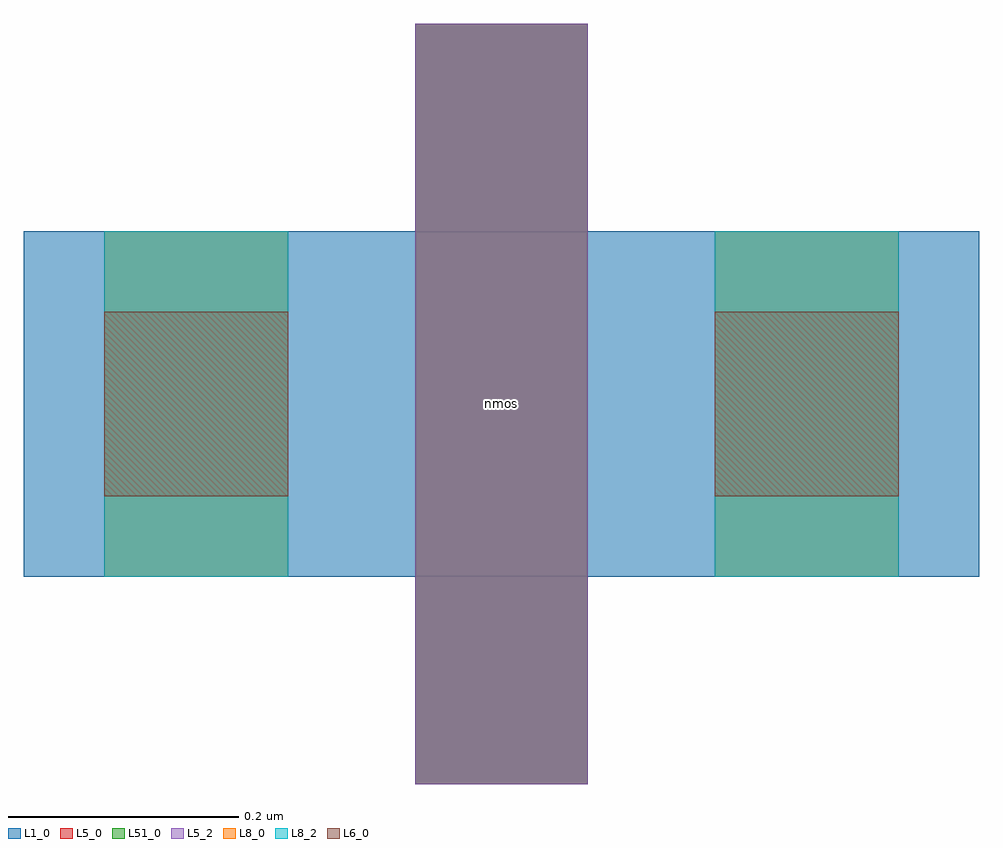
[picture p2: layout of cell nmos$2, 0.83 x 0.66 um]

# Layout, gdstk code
import gdstk
lib = gdstk.Library(unit=1e-6, precision=1e-09)
def R(c, l, rs):  # rectangles x0, y0, x1, y1
    for r in rs: c.add(gdstk.rectangle(r[:2], r[2:], *l))
L1_0 = (1, 0)
L5_0 = (5, 0)
L5_2 = (5, 2)
L6_0 = (6, 0)
L8_0 = (8, 0)
L8_2 = (8, 2)
L51_0 = (51, 0)

nmos_2 = lib.new_cell('nmos$2')
R(nmos_2, L1_0, [(0,0,0.3,0.3), (0,0,0.83,0.3), (0.53,0,0.83,0.3)])
R(nmos_2, L5_0, [(0.34,-0.18,0.49,0.48)])
R(nmos_2, L5_2, [(0.34,-0.18,0.49,0.48)])
R(nmos_2, L6_0, [(0.07,0.07,0.23,0.23), (0.6,0.07,0.76,0.23)])
R(nmos_2, L8_0, [(0.07,0,0.23,0.3), (0.6,0,0.76,0.3)])
R(nmos_2, L8_2, [(0.07,0,0.23,0.3), (0.6,0,0.76,0.3)])
R(nmos_2, L51_0, [(0.34,-0.18,0.49,0.48)])
nmos_2.add(gdstk.Label('nmos', (0.415,0.15), layer=63, texttype=0))
nmos_2.add(gdstk.Label('nmos', (0.415,0.15), layer=51, texttype=0))

lib.write_gds('nmos_2.gds')
